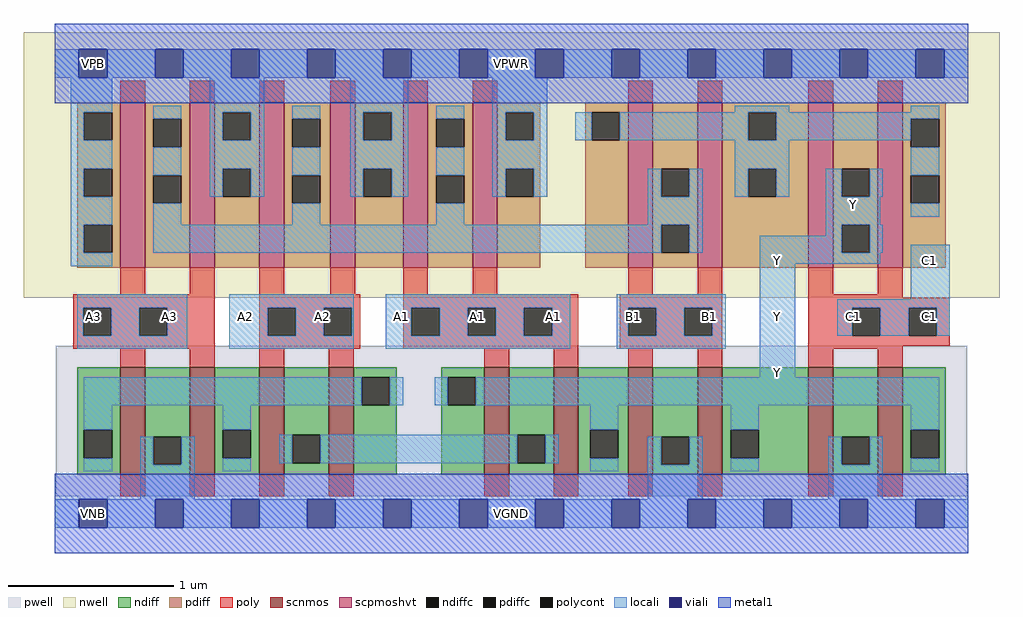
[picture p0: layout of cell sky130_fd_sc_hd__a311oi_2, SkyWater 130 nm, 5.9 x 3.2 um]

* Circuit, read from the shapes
.subckt sky130_fd_sc_hd__a311oi_2 A1 A2 A3 B1 C1 VGND VNB VPB VPWR Y
XM1 VGND A3 n1 VNB sky130_fd_pr__nfet_01v8 w=0.65 l=0.15 m=2
XM2 n2 A2 n1 VNB sky130_fd_pr__nfet_01v8 w=0.65 l=0.15 m=2
XM3 n2 A1 Y VNB sky130_fd_pr__nfet_01v8 w=0.65 l=0.15 m=2
XM4 VGND B1 Y VNB sky130_fd_pr__nfet_01v8 w=0.65 l=0.15 m=2
XM5 VGND C1 Y VNB sky130_fd_pr__nfet_01v8 w=0.65 l=0.15 m=2
XM6 n3 A3 VPWR VPB sky130_fd_pr__pfet_01v8_hvt w=1 l=0.15 m=2
XM7 n3 A2 VPWR VPB sky130_fd_pr__pfet_01v8_hvt w=1 l=0.15 m=2
XM8 n3 A1 VPWR VPB sky130_fd_pr__pfet_01v8_hvt w=1 l=0.15 m=2
XM9 n3 B1 n4 VPB sky130_fd_pr__pfet_01v8_hvt w=1 l=0.15 m=2
XM10 Y C1 n4 VPB sky130_fd_pr__pfet_01v8_hvt w=1 l=0.15 m=2
.ends

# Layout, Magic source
magic
tech sky130B
magscale 1 2
<< nwell >>
rect -38 261 1142 582
<< pwell >>
rect 1 21 1103 203
rect 30 -17 64 21
<< scnmos >>
rect 79 47 109 177
rect 163 47 193 177
rect 247 47 277 177
rect 331 47 361 177
rect 519 47 549 177
rect 603 47 633 177
rect 693 47 723 177
rect 777 47 807 177
rect 911 47 941 177
rect 995 47 1025 177
<< scpmoshvt >>
rect 79 297 109 497
rect 163 297 193 497
rect 247 297 277 497
rect 333 297 363 497
rect 421 297 451 497
rect 505 297 535 497
rect 693 297 723 497
rect 777 297 807 497
rect 911 297 941 497
rect 995 297 1025 497
<< ndiff >>
rect 27 101 79 177
rect 27 67 35 101
rect 69 67 79 101
rect 27 47 79 67
rect 109 93 163 177
rect 109 59 119 93
rect 153 59 163 93
rect 109 47 163 59
rect 193 101 247 177
rect 193 67 203 101
rect 237 67 247 101
rect 193 47 247 67
rect 277 95 331 177
rect 277 61 287 95
rect 321 61 331 95
rect 277 47 331 61
rect 361 165 413 177
rect 361 131 371 165
rect 405 131 413 165
rect 361 47 413 131
rect 467 165 519 177
rect 467 131 475 165
rect 509 131 519 165
rect 467 47 519 131
rect 549 95 603 177
rect 549 61 559 95
rect 593 61 603 95
rect 549 47 603 61
rect 633 101 693 177
rect 633 67 647 101
rect 681 67 693 101
rect 633 47 693 67
rect 723 93 777 177
rect 723 59 733 93
rect 767 59 777 93
rect 723 47 777 59
rect 807 101 911 177
rect 807 67 817 101
rect 851 67 911 101
rect 807 47 911 67
rect 941 93 995 177
rect 941 59 951 93
rect 985 59 995 93
rect 941 47 995 59
rect 1025 101 1077 177
rect 1025 67 1035 101
rect 1069 67 1077 101
rect 1025 47 1077 67
<< pdiff >>
rect 27 485 79 497
rect 27 451 35 485
rect 69 451 79 485
rect 27 417 79 451
rect 27 383 35 417
rect 69 383 79 417
rect 27 349 79 383
rect 27 315 35 349
rect 69 315 79 349
rect 27 297 79 315
rect 109 477 163 497
rect 109 443 119 477
rect 153 443 163 477
rect 109 409 163 443
rect 109 375 119 409
rect 153 375 163 409
rect 109 297 163 375
rect 193 485 247 497
rect 193 451 203 485
rect 237 451 247 485
rect 193 417 247 451
rect 193 383 203 417
rect 237 383 247 417
rect 193 297 247 383
rect 277 477 333 497
rect 277 443 287 477
rect 321 443 333 477
rect 277 409 333 443
rect 277 375 287 409
rect 321 375 333 409
rect 277 297 333 375
rect 363 485 421 497
rect 363 451 373 485
rect 407 451 421 485
rect 363 417 421 451
rect 363 383 373 417
rect 407 383 421 417
rect 363 297 421 383
rect 451 477 505 497
rect 451 443 461 477
rect 495 443 505 477
rect 451 409 505 443
rect 451 375 461 409
rect 495 375 505 409
rect 451 297 505 375
rect 535 485 587 497
rect 535 451 545 485
rect 579 451 587 485
rect 535 417 587 451
rect 535 383 545 417
rect 579 383 587 417
rect 535 297 587 383
rect 641 485 693 497
rect 641 451 649 485
rect 683 451 693 485
rect 641 297 693 451
rect 723 417 777 497
rect 723 383 733 417
rect 767 383 777 417
rect 723 349 777 383
rect 723 315 733 349
rect 767 315 777 349
rect 723 297 777 315
rect 807 485 911 497
rect 807 451 838 485
rect 872 451 911 485
rect 807 417 911 451
rect 807 383 838 417
rect 872 383 911 417
rect 807 297 911 383
rect 941 417 995 497
rect 941 383 951 417
rect 985 383 995 417
rect 941 349 995 383
rect 941 315 951 349
rect 985 315 995 349
rect 941 297 995 315
rect 1025 477 1077 497
rect 1025 443 1035 477
rect 1069 443 1077 477
rect 1025 409 1077 443
rect 1025 375 1035 409
rect 1069 375 1077 409
rect 1025 297 1077 375
<< ndiffc >>
rect 35 67 69 101
rect 119 59 153 93
rect 203 67 237 101
rect 287 61 321 95
rect 371 131 405 165
rect 475 131 509 165
rect 559 61 593 95
rect 647 67 681 101
rect 733 59 767 93
rect 817 67 851 101
rect 951 59 985 93
rect 1035 67 1069 101
<< pdiffc >>
rect 35 451 69 485
rect 35 383 69 417
rect 35 315 69 349
rect 119 443 153 477
rect 119 375 153 409
rect 203 451 237 485
rect 203 383 237 417
rect 287 443 321 477
rect 287 375 321 409
rect 373 451 407 485
rect 373 383 407 417
rect 461 443 495 477
rect 461 375 495 409
rect 545 451 579 485
rect 545 383 579 417
rect 649 451 683 485
rect 733 383 767 417
rect 733 315 767 349
rect 838 451 872 485
rect 838 383 872 417
rect 951 383 985 417
rect 951 315 985 349
rect 1035 443 1069 477
rect 1035 375 1069 409
<< poly >>
rect 79 497 109 523
rect 163 497 193 523
rect 247 497 277 523
rect 333 497 363 523
rect 421 497 451 523
rect 505 497 535 523
rect 693 497 723 523
rect 777 497 807 523
rect 911 497 941 523
rect 995 497 1025 523
rect 79 265 109 297
rect 163 265 193 297
rect 22 249 193 265
rect 22 215 34 249
rect 68 215 102 249
rect 136 215 193 249
rect 22 199 193 215
rect 79 177 109 199
rect 163 177 193 199
rect 247 265 277 297
rect 333 265 363 297
rect 421 265 451 297
rect 505 265 535 297
rect 693 265 723 297
rect 777 265 807 297
rect 247 249 369 265
rect 247 215 257 249
rect 291 215 325 249
rect 359 215 369 249
rect 247 199 369 215
rect 421 249 633 265
rect 421 215 431 249
rect 465 215 499 249
rect 533 215 567 249
rect 601 215 633 249
rect 421 199 633 215
rect 683 249 807 265
rect 683 215 693 249
rect 727 215 761 249
rect 795 215 807 249
rect 683 199 807 215
rect 247 177 277 199
rect 331 177 361 199
rect 519 177 549 199
rect 603 177 633 199
rect 693 177 723 199
rect 777 177 807 199
rect 911 265 941 297
rect 995 265 1025 297
rect 911 261 1025 265
rect 911 249 1082 261
rect 911 215 964 249
rect 998 215 1032 249
rect 1066 215 1082 249
rect 911 203 1082 215
rect 911 199 1025 203
rect 911 177 941 199
rect 995 177 1025 199
rect 79 21 109 47
rect 163 21 193 47
rect 247 21 277 47
rect 331 21 361 47
rect 519 21 549 47
rect 603 21 633 47
rect 693 21 723 47
rect 777 21 807 47
rect 911 21 941 47
rect 995 21 1025 47
<< polycont >>
rect 34 215 68 249
rect 102 215 136 249
rect 257 215 291 249
rect 325 215 359 249
rect 431 215 465 249
rect 499 215 533 249
rect 567 215 601 249
rect 693 215 727 249
rect 761 215 795 249
rect 964 215 998 249
rect 1032 215 1066 249
<< locali >>
rect 0 527 29 561
rect 63 527 121 561
rect 155 527 213 561
rect 247 527 305 561
rect 339 527 397 561
rect 431 527 489 561
rect 523 527 581 561
rect 615 527 673 561
rect 707 527 765 561
rect 799 527 857 561
rect 891 527 949 561
rect 983 527 1041 561
rect 1075 527 1104 561
rect 19 485 69 527
rect 19 451 35 485
rect 19 417 69 451
rect 19 383 35 417
rect 19 349 69 383
rect 19 315 35 349
rect 119 477 153 493
rect 119 409 153 443
rect 187 485 253 527
rect 187 451 203 485
rect 237 451 253 485
rect 187 417 253 451
rect 187 383 203 417
rect 237 383 253 417
rect 287 477 321 493
rect 287 409 321 443
rect 119 349 153 375
rect 357 485 427 527
rect 357 451 373 485
rect 407 451 427 485
rect 357 417 427 451
rect 357 383 373 417
rect 407 383 427 417
rect 461 477 495 493
rect 461 409 495 443
rect 287 349 321 375
rect 529 485 595 527
rect 822 485 888 493
rect 1035 485 1069 493
rect 529 451 545 485
rect 579 451 595 485
rect 629 451 649 485
rect 683 451 838 485
rect 872 477 1069 485
rect 872 451 1035 477
rect 529 417 595 451
rect 822 417 888 451
rect 529 383 545 417
rect 579 383 595 417
rect 717 383 733 417
rect 767 383 783 417
rect 822 383 838 417
rect 872 383 888 417
rect 932 383 951 417
rect 985 383 1001 417
rect 1035 409 1069 443
rect 461 349 495 375
rect 717 349 783 383
rect 119 315 733 349
rect 767 315 783 349
rect 932 349 998 383
rect 1035 359 1069 375
rect 932 336 951 349
rect 852 315 951 336
rect 985 315 1001 349
rect 19 299 69 315
rect 852 302 998 315
rect 27 249 160 265
rect 27 215 34 249
rect 68 215 102 249
rect 136 215 160 249
rect 27 199 160 215
rect 211 249 361 265
rect 211 215 257 249
rect 291 215 325 249
rect 359 215 361 249
rect 211 199 361 215
rect 400 249 623 265
rect 400 215 431 249
rect 465 215 499 249
rect 533 215 567 249
rect 601 215 623 249
rect 400 199 623 215
rect 679 249 811 265
rect 679 215 693 249
rect 727 215 761 249
rect 795 215 811 249
rect 679 199 811 215
rect 852 165 895 302
rect 1035 259 1082 325
rect 946 249 1082 259
rect 946 215 964 249
rect 998 215 1032 249
rect 1066 215 1082 249
rect 35 131 371 165
rect 405 131 421 165
rect 459 131 475 165
rect 509 131 1069 165
rect 35 101 69 131
rect 203 101 237 131
rect 35 51 69 67
rect 103 59 119 93
rect 153 59 169 93
rect 103 17 169 59
rect 647 101 681 131
rect 203 51 237 67
rect 271 61 287 95
rect 321 61 559 95
rect 593 61 609 95
rect 817 101 851 131
rect 647 51 681 67
rect 717 59 733 93
rect 767 59 783 93
rect 717 17 783 59
rect 1035 101 1069 131
rect 817 51 851 67
rect 935 59 951 93
rect 985 59 1001 93
rect 935 17 1001 59
rect 1035 51 1069 67
rect 0 -17 29 17
rect 63 -17 121 17
rect 155 -17 213 17
rect 247 -17 305 17
rect 339 -17 397 17
rect 431 -17 489 17
rect 523 -17 581 17
rect 615 -17 673 17
rect 707 -17 765 17
rect 799 -17 857 17
rect 891 -17 949 17
rect 983 -17 1041 17
rect 1075 -17 1104 17
<< viali >>
rect 29 527 63 561
rect 121 527 155 561
rect 213 527 247 561
rect 305 527 339 561
rect 397 527 431 561
rect 489 527 523 561
rect 581 527 615 561
rect 673 527 707 561
rect 765 527 799 561
rect 857 527 891 561
rect 949 527 983 561
rect 1041 527 1075 561
rect 29 -17 63 17
rect 121 -17 155 17
rect 213 -17 247 17
rect 305 -17 339 17
rect 397 -17 431 17
rect 489 -17 523 17
rect 581 -17 615 17
rect 673 -17 707 17
rect 765 -17 799 17
rect 857 -17 891 17
rect 949 -17 983 17
rect 1041 -17 1075 17
<< metal1 >>
rect 0 561 1104 592
rect 0 527 29 561
rect 63 527 121 561
rect 155 527 213 561
rect 247 527 305 561
rect 339 527 397 561
rect 431 527 489 561
rect 523 527 581 561
rect 615 527 673 561
rect 707 527 765 561
rect 799 527 857 561
rect 891 527 949 561
rect 983 527 1041 561
rect 1075 527 1104 561
rect 0 496 1104 527
rect 0 17 1104 48
rect 0 -17 29 17
rect 63 -17 121 17
rect 155 -17 213 17
rect 247 -17 305 17
rect 339 -17 397 17
rect 431 -17 489 17
rect 523 -17 581 17
rect 615 -17 673 17
rect 707 -17 765 17
rect 799 -17 857 17
rect 891 -17 949 17
rect 983 -17 1041 17
rect 1075 -17 1104 17
rect 0 -48 1104 -17
<< labels >>
flabel locali s 948 221 982 255 0 FreeSans 200 0 0 0 C1
port 5 nsew signal input
flabel locali s 1040 221 1074 255 0 FreeSans 200 0 0 0 C1
port 5 nsew signal input
flabel locali s 30 221 64 255 0 FreeSans 200 0 0 0 A3
port 3 nsew signal input
flabel locali s 856 221 890 255 0 FreeSans 200 0 0 0 Y
port 10 nsew signal output
flabel locali s 856 289 890 323 0 FreeSans 200 0 0 0 Y
port 10 nsew signal output
flabel locali s 948 357 982 391 0 FreeSans 200 0 0 0 Y
port 10 nsew signal output
flabel locali s 774 221 808 255 0 FreeSans 200 0 0 0 B1
port 4 nsew signal input
flabel locali s 1040 289 1074 323 0 FreeSans 200 0 0 0 C1
port 5 nsew signal input
flabel locali s 494 221 528 255 0 FreeSans 200 0 0 0 A1
port 1 nsew signal input
flabel locali s 586 221 620 255 0 FreeSans 200 0 0 0 A1
port 1 nsew signal input
flabel locali s 402 221 436 255 0 FreeSans 200 0 0 0 A1
port 1 nsew signal input
flabel locali s 214 221 248 255 0 FreeSans 200 0 0 0 A2
port 2 nsew signal input
flabel locali s 122 221 156 255 0 FreeSans 200 0 0 0 A3
port 3 nsew signal input
flabel locali s 856 153 890 187 0 FreeSans 200 0 0 0 Y
port 10 nsew signal output
flabel locali s 682 221 716 255 0 FreeSans 200 0 0 0 B1
port 4 nsew signal input
flabel locali s 306 221 340 255 0 FreeSans 200 0 0 0 A2
port 2 nsew signal input
flabel pwell s 30 -17 64 17 0 FreeSans 200 0 0 0 VNB
port 7 nsew ground bidirectional
flabel nwell s 30 527 64 561 0 FreeSans 200 0 0 0 VPB
port 8 nsew power bidirectional
flabel metal1 s 30 -17 64 17 0 FreeSans 200 0 0 0 VGND
port 6 nsew ground bidirectional abutment
flabel metal1 s 30 527 64 561 0 FreeSans 200 0 0 0 VPWR
port 9 nsew power bidirectional abutment
rlabel comment s 0 0 0 0 4 a311oi_2
rlabel metal1 s 0 -48 1104 48 1 VGND
port 6 nsew ground bidirectional abutment
rlabel metal1 s 0 496 1104 592 1 VPWR
port 9 nsew power bidirectional abutment
<< properties >>
string FIXED_BBOX 0 0 1104 544
string GDS_END 3717714
string GDS_FILE $PDKPATH/libs.ref/sky130_fd_sc_hd/gds/sky130_fd_sc_hd.gds
string GDS_START 3707396
string LEFclass CORE
string LEFsite unithd
string LEFsymmetry X Y R90
string path 0.000 0.000 27.600 0.000 
<< end >>
